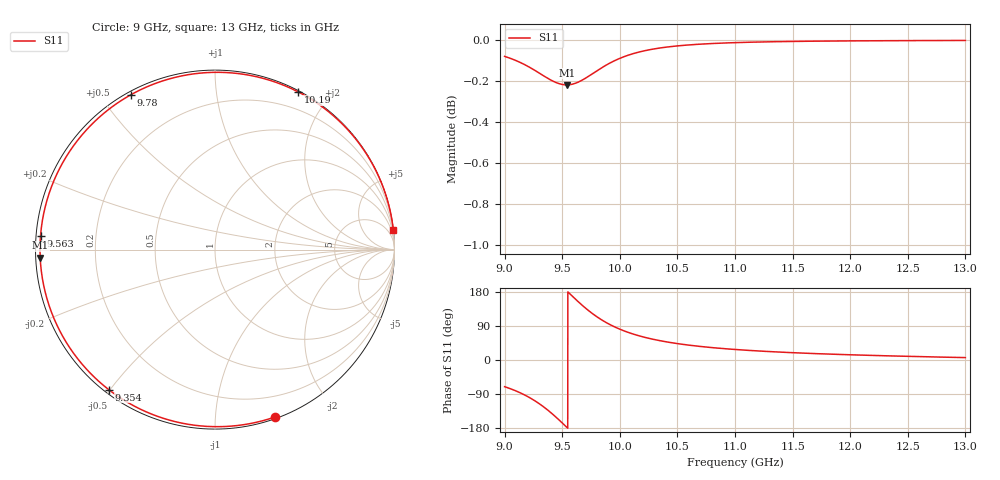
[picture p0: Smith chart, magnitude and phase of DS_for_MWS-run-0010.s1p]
! TOUCHSTONE file generated by CST DESIGN STUDIO
! Date and time: Wed Feb  5 13:29:05 2025
! Project name: C:\Work\MatlabApps\UnitCellOptimizationMatlab\CST\unitcell.cst
! Tree item: Tasks\Sweep1\SPara1\S-Parameters
! Header version: 2024
! Port assignment regex: !\s*Touchstone port\s*([0-9]+)\s*=\s*(CST MWS port|CST DES external port|CST DES block port)\s*(.+)\s* \(\"(.*)\"\)(\s*mode\s*([0-9]+))?.*
! Touchstone port assignment:
! Touchstone port 1 = CST DES external port 1 ("")
# GHz S MA R 50
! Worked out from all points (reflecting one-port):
!   4001 points, 9 GHz to 13 GHz, reference 50 ohm
!   lowest |S11| = -0.2 dB at 9.539 GHz (marker M1), VSWR 78.94, Z = 0.634 - j1.15 ohm
!   phase of S11 starts at -70 deg and turns -283 deg over the sweep
!   S11 on the Smith chart (normalised r, x): 9 GHz: 0.01, -1.42; 9.354 GHz: 0.01, -0.50; 9.563 GHz: 0.01, +0.04; 9.78 GHz: 0.01, +0.59; 10.19 GHz: 0.01, +1.66; 13 GHz: 0, +18
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9  0.9907 -70.4
9.1  0.9883 -81.8
9.209  0.9849 -97.9
9.285  0.9821 -112.0
9.354  0.9793 -127.2
9.424  0.9769 -144.8
9.464  0.9758 -155.8
9.5  0.9752 -166.0
9.539  0.975 -177.4
9.563  0.9751 175.6
9.618  0.9759 159.7
9.678  0.9777 143.2
9.729  0.9797 130.3
9.78  0.9818 118.6
9.827  0.9837 108.9
9.878  0.9857 99.5
9.935  0.9877 90.3
10  0.9896 81.3
10.089  0.9917 71.2
10.186  0.9934 62.3
10.33  0.9951 52.1
10.5  0.9965 43.3
10.721  0.9975 35.0
11  0.9983 27.8
11.5  0.999 19.3
12  0.9993 13.8
12.5  0.9994 9.7
13  0.9995 6.3
